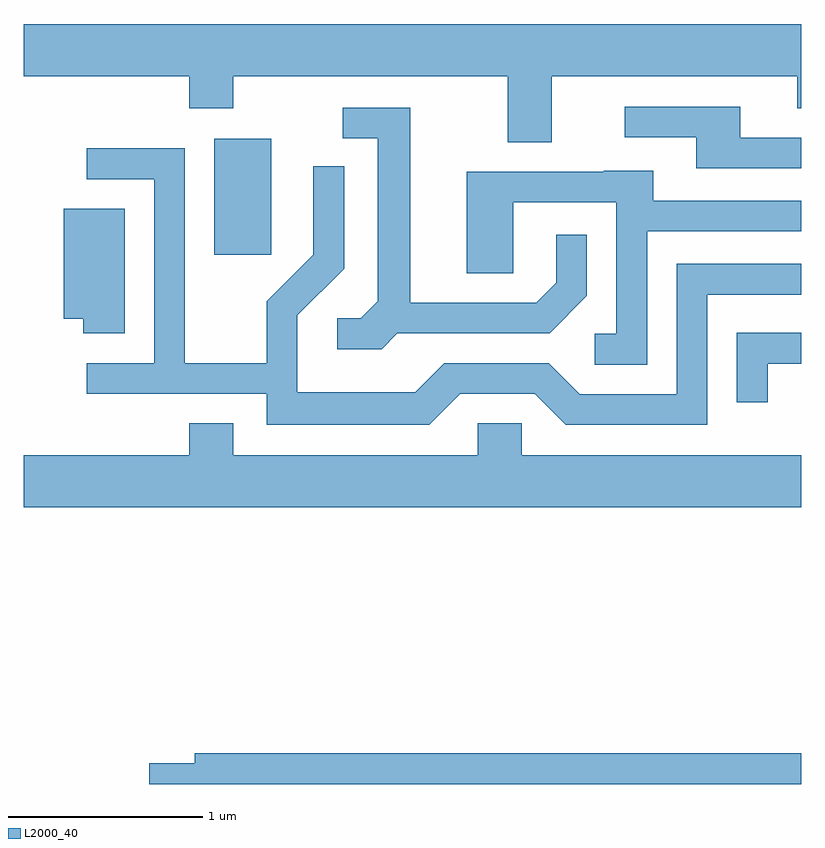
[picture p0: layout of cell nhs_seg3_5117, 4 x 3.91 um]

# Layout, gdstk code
import gdstk
lib = gdstk.Library(unit=1e-6, precision=1e-09)
def R(c, l, rs):  # rectangles x0, y0, x1, y1
    for r in rs: c.add(gdstk.rectangle(r[:2], r[2:], *l))
def P(c, l, *ps):  # polygons
    for p in ps: c.add(gdstk.Polygon(p, *l))
L2000_40 = (2000, 40)

nhs_seg3_5117 = lib.new_cell('nhs_seg3_5117')
R(nhs_seg3_5117, L2000_40, [(336.591,1160.616,336.884,1161.214)])
P(nhs_seg3_5117, L2000_40, [(338.329,1161.536),(339.591,1161.536),(339.591,1161.371),(339.611,1161.371),(339.611,1161.804),(335.611,1161.804),(335.611,1161.536),(336.461,1161.536),(336.461,1161.371),(336.689,1161.371),(336.689,1161.536),(338.101,1161.536),(338.101,1161.196),(338.329,1161.196)],
  [(339.611,1161.219),(339.299,1161.219),(339.299,1161.379),(338.703,1161.379),(338.703,1161.221),(339.071,1161.221),(339.071,1161.061),(339.611,1161.061)],
  [(337.532,1160.211),(338.317,1160.211),(338.509,1160.404),(338.509,1160.718),(338.351,1160.718),(338.351,1160.472),(338.249,1160.369),(337.599,1160.369),(337.599,1161.374),(337.253,1161.374),(337.253,1161.216),(337.431,1161.216),(337.431,1160.377),(337.344,1160.289),(337.223,1160.289),(337.223,1160.131),(337.452,1160.131)],
  [(337.857,1159.901),(338.239,1159.901),(338.399,1159.741),(339.129,1159.741),(339.129,1160.411),(339.611,1160.411),(339.611,1160.569),(338.971,1160.569),(338.971,1159.899),(338.472,1159.899),(338.312,1160.059),(337.774,1160.059),(337.624,1159.909),(337.019,1159.909),(337.019,1160.304),(337.259,1160.544),(337.259,1161.073),(337.101,1161.073),(337.101,1160.617),(336.861,1160.377),(336.861,1160.059),(336.439,1160.059),(336.439,1161.164),(335.933,1161.164),(335.933,1161.006),(336.281,1161.006),(336.281,1160.059),(335.933,1160.059),(335.933,1159.901),(336.861,1159.901),(336.861,1159.741),(337.697,1159.741)],
  [(338.819,1160.736),(339.611,1160.736),(339.611,1160.894),(338.849,1160.894),(338.849,1161.049),(338.595,1161.049),(338.595,1161.044),(337.891,1161.044),(337.891,1160.521),(338.129,1160.521),(338.129,1160.886),(338.661,1160.886),(338.661,1160.209),(338.548,1160.209),(338.548,1160.051),(338.819,1160.051)],
  [(336.129,1160.854),(335.816,1160.854),(335.816,1160.286),(335.916,1160.286),(335.916,1160.211),(336.129,1160.211)],
  [(339.439,1160.056),(339.611,1160.056),(339.611,1160.214),(339.281,1160.214),(339.281,1159.858),(339.439,1159.858)],
  [(339.611,1159.584),(338.174,1159.584),(338.174,1159.749),(337.946,1159.749),(337.946,1159.584),(336.689,1159.584),(336.689,1159.749),(336.461,1159.749),(336.461,1159.584),(335.611,1159.584),(335.611,1159.316),(339.611,1159.316)],
  [(339.611,1158.049),(336.491,1158.049),(336.491,1157.999),(336.256,1157.999),(336.256,1157.892),(339.611,1157.892)])

lib.write_gds('nhs_seg3_5117.gds')
